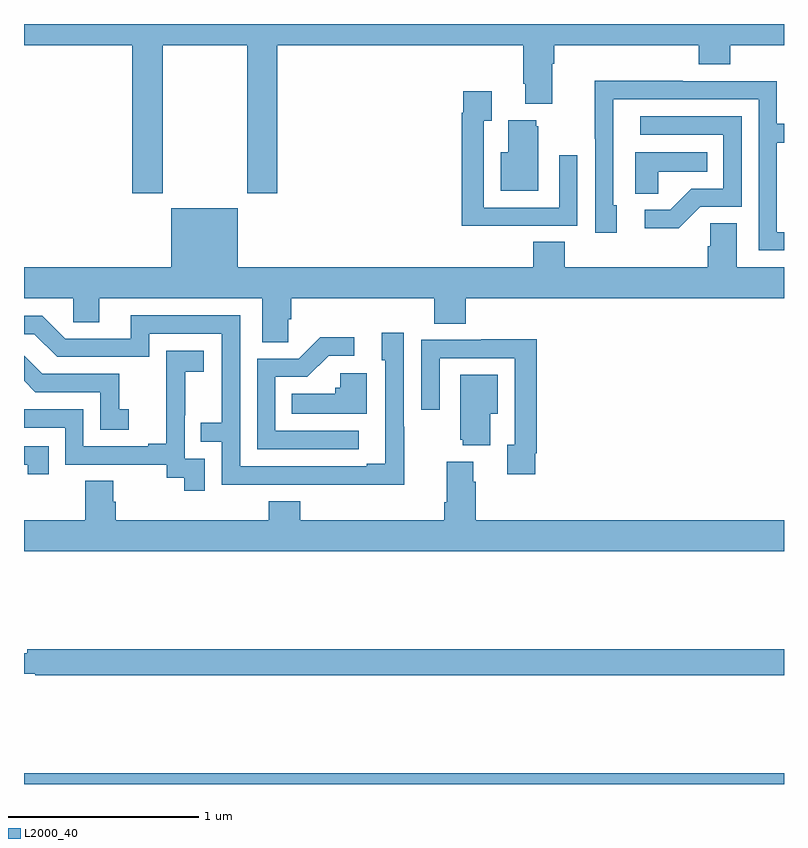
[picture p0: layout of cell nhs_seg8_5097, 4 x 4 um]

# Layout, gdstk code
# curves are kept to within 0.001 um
import gdstk
lib = gdstk.Library(unit=1e-6, precision=1e-09)
def R(c, l, rs):  # rectangles x0, y0, x1, y1
    for r in rs: c.add(gdstk.rectangle(r[:2], r[2:], *l))
def P(c, l, *ps):  # polygons
    for p in ps: c.add(gdstk.Polygon(p, *l))
L2000_40 = (2000, 40)

nhs_seg8_5097 = lib.new_cell('nhs_seg8_5097')
R(nhs_seg8_5097, L2000_40, [(417,1157.9,421,1157.956)])
P(nhs_seg8_5097, L2000_40, [(417.729,1161.788),(418.174,1161.788),(418.174,1161.009),(418.334,1161.009),(418.334,1161.788),(419.627,1161.788),(419.627,1161.586),(419.639,1161.586),(419.639,1161.479),(419.779,1161.479),(419.779,1161.692),(419.792,1161.692),(419.792,1161.788),(420.551,1161.788),(420.551,1161.689),(420.716,1161.689),(420.716,1161.788),(421,1161.788),(421,1161.9),(417,1161.9),(417,1161.788),(417.569,1161.788),(417.569,1161.009),(417.729,1161.009)],
  [(421,1160.805),(420.963,1160.805),(420.963,1161.274),(421,1161.274),(421,1161.375),(420.963,1161.375),(420.963,1161.6),(420.467,1161.6),(420.467,1161.602),(420.004,1161.602),(420.004,1161.295),(420.006,1161.295),(420.006,1160.802),(420.121,1160.802),(420.121,1160.946),(420.102,1160.946),(420.102,1161.504),(420.867,1161.504),(420.867,1160.709),(421,1160.709)],
  [(419.597,1160.838),(419.913,1160.838),(419.913,1161.208),(419.817,1161.208),(419.817,1160.934),(419.421,1160.934),(419.421,1161.391),(419.461,1161.391),(419.461,1161.547),(419.313,1161.547),(419.313,1161.434),(419.305,1161.434),(419.305,1160.837),(419.597,1160.837)],
  [(420.558,1160.937),(420.777,1160.937),(420.777,1161.414),(420.243,1161.414),(420.243,1161.318),(420.681,1161.318),(420.681,1161.033),(420.512,1161.033),(420.401,1160.922),(420.267,1160.922),(420.267,1160.825),(420.445,1160.825)],
  [(419.707,1161.363),(419.696,1161.363),(419.696,1161.394),(419.549,1161.394),(419.549,1161.226),(419.51,1161.226),(419.51,1161.023),(419.707,1161.023)],
  [(420.339,1161.122),(420.596,1161.122),(420.596,1161.226),(420.218,1161.226),(420.218,1161.007),(420.339,1161.007)],
  [(418.392,1160.347),(418.406,1160.347),(418.406,1160.456),(419.159,1160.456),(419.159,1160.323),(419.324,1160.323),(419.324,1160.456),(421,1160.456),(421,1160.62),(420.751,1160.62),(420.751,1160.852),(420.612,1160.852),(420.612,1160.729),(420.599,1160.729),(420.599,1160.62),(419.846,1160.62),(419.846,1160.753),(419.681,1160.753),(419.681,1160.62),(418.126,1160.62),(418.126,1160.929),(417.776,1160.929),(417.776,1160.62),(417,1160.62),(417,1160.456),(417.258,1160.456),(417.258,1160.329),(417.397,1160.329),(417.397,1160.456),(418.253,1160.456),(418.253,1160.224),(418.392,1160.224)],
  [(419.001,1159.781),(418.998,1159.781),(418.998,1160.275),(418.883,1160.275),(418.883,1160.13),(418.902,1160.13),(418.902,1159.585),(418.805,1159.585),(418.805,1159.572),(418.137,1159.572),(418.137,1160.367),(417.563,1160.367),(417.563,1160.244),(417.216,1160.244),(417.096,1160.364),(417,1160.364),(417,1160.268),(417.054,1160.268),(417.174,1160.148),(417.66,1160.148),(417.66,1160.271),(418.041,1160.271),(418.041,1159.802),(417.931,1159.802),(417.931,1159.701),(418.041,1159.701),(418.041,1159.476),(419.001,1159.475)],
  [(418.762,1159.758),(418.323,1159.758),(418.323,1160.043),(418.492,1160.043),(418.603,1160.154),(418.738,1160.154),(418.738,1160.252),(418.559,1160.252),(418.446,1160.139),(418.227,1160.139),(418.227,1159.662),(418.762,1159.662)],
  [(419.692,1159.642),(419.699,1159.642),(419.699,1160.24),(419.407,1160.24),(419.407,1160.238),(419.091,1160.238),(419.091,1159.869),(419.187,1159.869),(419.187,1160.142),(419.583,1160.142),(419.583,1159.686),(419.543,1159.686),(419.543,1159.53),(419.692,1159.53)],
  [(417.951,1159.611),(417.846,1159.611),(417.846,1159.841),(417.848,1159.841),(417.848,1160.069),(417.946,1160.069),(417.946,1160.179),(417.748,1160.179),(417.748,1159.973),(417.749,1159.973),(417.749,1159.69),(417.653,1159.69),(417.653,1159.677),(417.312,1159.677),(417.312,1159.872),(417,1159.872),(417,1159.776),(417.216,1159.776),(417.216,1159.581),(417.75,1159.581),(417.75,1159.513),(417.843,1159.513),(417.843,1159.443),(417.951,1159.443)],
  [(417.55,1159.873),(417.501,1159.873),(417.501,1160.058),(417.097,1160.058),(417,1160.155),(417,1160.022),(417.06,1159.962),(417.402,1159.962),(417.402,1159.764),(417.55,1159.764)],
  [(418.804,1160.062),(418.665,1160.062),(418.665,1159.986),(418.639,1159.986),(418.639,1159.954),(418.408,1159.954),(418.408,1159.85),(418.804,1159.85)],
  [(419.455,1159.85),(419.494,1159.85),(419.494,1160.053),(419.297,1160.053),(419.297,1159.713),(419.309,1159.713),(419.309,1159.682),(419.455,1159.682)],
  [(417.131,1159.677),(417,1159.677),(417,1159.581),(417.02,1159.581),(417.02,1159.53),(417.131,1159.53)],
  [(421,1159.288),(419.378,1159.288),(419.378,1159.49),(419.365,1159.49),(419.365,1159.597),(419.225,1159.597),(419.225,1159.384),(419.213,1159.384),(419.213,1159.288),(418.454,1159.288),(418.454,1159.387),(418.289,1159.387),(418.289,1159.288),(417.482,1159.288),(417.482,1159.386),(417.469,1159.386),(417.469,1159.496),(417.322,1159.496),(417.322,1159.288),(417,1159.288),(417,1159.124),(421,1159.124)],
  [(421,1158.608),(417.016,1158.608),(417.016,1158.589),(417,1158.589),(417,1158.48),(417.058,1158.48),(417.058,1158.472),(421,1158.472)])

lib.write_gds('nhs_seg8_5097.gds')
